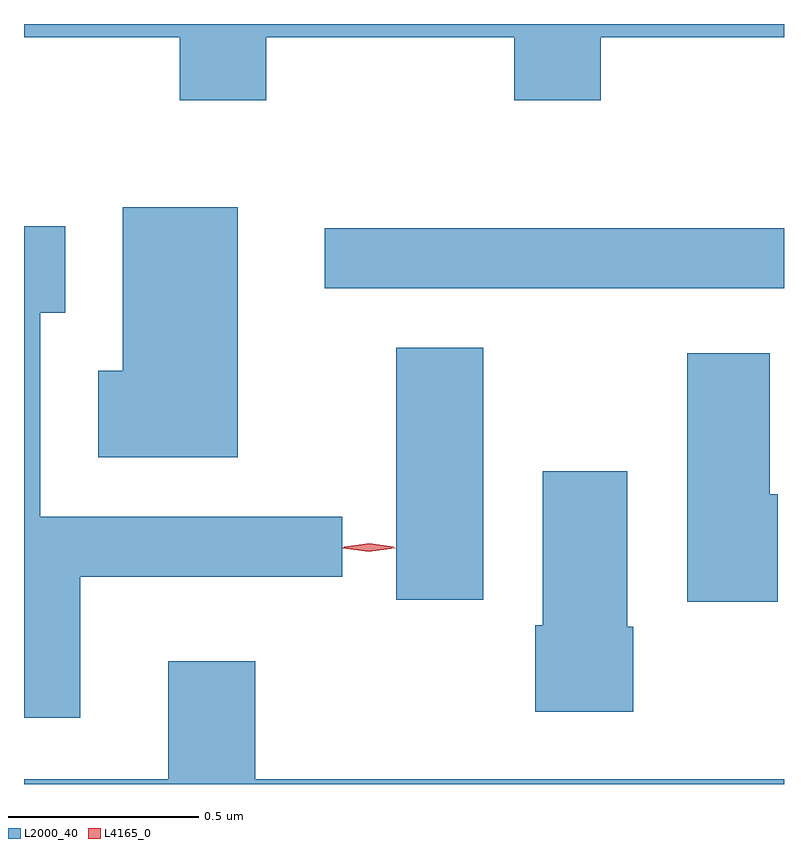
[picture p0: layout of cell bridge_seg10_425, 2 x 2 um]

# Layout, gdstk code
import gdstk
lib = gdstk.Library(unit=1e-6, precision=1e-09)
def R(c, l, rs):  # rectangles x0, y0, x1, y1
    for r in rs: c.add(gdstk.rectangle(r[:2], r[2:], *l))
def P(c, l, *ps):  # polygons
    for p in ps: c.add(gdstk.Polygon(p, *l))
L2000_40 = (2000, 40)
L4165_0 = (4165, 0)

bridge_seg10_425 = lib.new_cell('bridge_seg10_425')
R(bridge_seg10_425, L2000_40, [(1335.631,2125.756,1335.859,2126.419), (1335.443,2126.576,1336.651,2126.734)])
P(bridge_seg10_425, L2000_40, [(1335.289,2127.236),(1335.941,2127.236),(1335.941,2127.071),(1336.169,2127.071),(1336.169,2127.236),(1336.651,2127.236),(1336.651,2127.271),(1334.651,2127.271),(1334.651,2127.236),(1335.061,2127.236),(1335.061,2127.071),(1335.289,2127.071)],
  [(1335.214,2126.789),(1334.911,2126.789),(1334.911,2126.359),(1334.846,2126.359),(1334.846,2126.131),(1335.214,2126.131)],
  [(1334.799,2125.816),(1335.488,2125.816),(1335.488,2125.974),(1334.694,2125.974),(1334.694,2126.511),(1334.759,2126.511),(1334.759,2126.739),(1334.651,2126.739),(1334.651,2125.446),(1334.799,2125.446)],
  [(1336.634,2126.034),(1336.614,2126.034),(1336.614,2126.404),(1336.396,2126.404),(1336.396,2125.751),(1336.634,2125.751)],
  [(1336.254,2125.685),(1336.239,2125.685),(1336.239,2126.094),(1336.016,2126.094),(1336.016,2125.689),(1335.996,2125.689),(1335.996,2125.461),(1336.254,2125.461)],
  [(1336.651,2125.284),(1335.259,2125.284),(1335.259,2125.594),(1335.031,2125.594),(1335.031,2125.284),(1334.651,2125.284),(1334.651,2125.271),(1336.651,2125.271)])
P(bridge_seg10_425, L4165_0, [(1335.558,2125.882),(1335.49,2125.892),(1335.49,2125.892),(1335.49,2125.893),(1335.558,2125.902),(1335.627,2125.892),(1335.628,2125.892),(1335.627,2125.891)],
  [(1335.559,2125.885),(1335.494,2125.894),(1335.493,2125.895),(1335.494,2125.896),(1335.559,2125.904),(1335.624,2125.895),(1335.625,2125.894),(1335.624,2125.894)])

lib.write_gds('bridge_seg10_425.gds')
